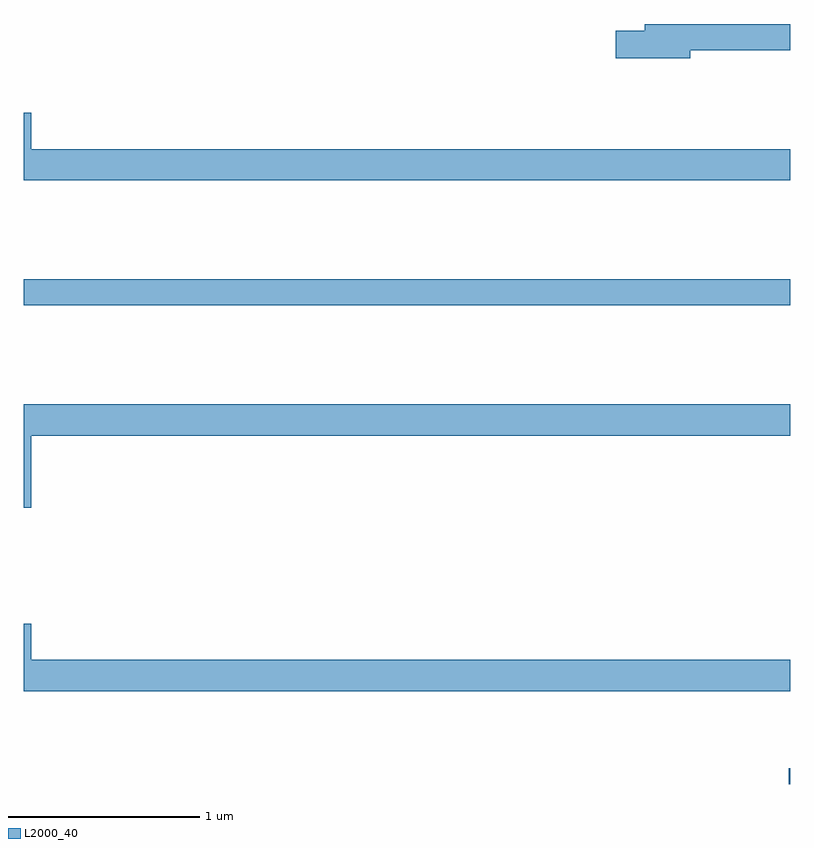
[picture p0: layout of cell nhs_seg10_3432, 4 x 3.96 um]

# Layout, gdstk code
import gdstk
lib = gdstk.Library(unit=1e-6, precision=1e-09)
def R(c, l, rs):  # rectangles x0, y0, x1, y1
    for r in rs: c.add(gdstk.rectangle(r[:2], r[2:], *l))
def P(c, l, *ps):  # polygons
    for p in ps: c.add(gdstk.Polygon(p, *l))
L2000_40 = (2000, 40)

nhs_seg10_3432 = lib.new_cell('nhs_seg10_3432')
R(nhs_seg10_3432, L2000_40, [(300.992,1298.5,301,1298.582), (297,1300.996,301,1301.132)])
P(nhs_seg10_3432, L2000_40, [(300.478,1302.328),(301,1302.328),(301,1302.464),(300.239,1302.464),(300.239,1302.428),(300.09,1302.428),(300.09,1302.286),(300.478,1302.286)],
  [(301,1301.812),(297.04,1301.812),(297.04,1302.001),(297,1302.001),(297,1301.648),(301,1301.648)],
  [(297.04,1300.316),(301,1300.316),(301,1300.48),(297,1300.48),(297,1299.942),(297.04,1299.942)],
  [(301,1299.148),(297.04,1299.148),(297.04,1299.337),(297,1299.337),(297,1298.984),(301,1298.984)])

lib.write_gds('nhs_seg10_3432.gds')
